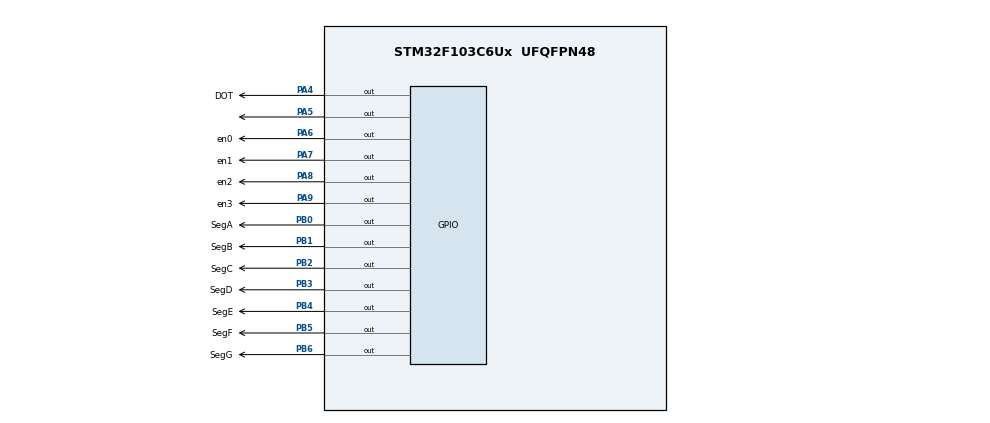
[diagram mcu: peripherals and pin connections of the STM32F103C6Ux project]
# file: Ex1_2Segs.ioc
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Mcu.Family=STM32F1
Mcu.Name=STM32F103C6Ux
Mcu.Package=UFQFPN48
NVIC.PriorityGroup=NVIC_PRIORITYGROUP_4
NVIC.TIM2_IRQn=true\:0\:0\:false\:false\:true\:true\:true
PA4.GPIO_Label=DOT
PA4.Signal=GPIO_Output
PA5.Signal=GPIO_Output
PA6.GPIO_Label=en0
PA6.Signal=GPIO_Output
PA7.GPIO_Label=en1
PA7.Signal=GPIO_Output
PA8.GPIO_Label=en2
PA8.Signal=GPIO_Output
PA9.GPIO_Label=en3
PA9.Signal=GPIO_Output
PB0.GPIO_Label=SegA
PB0.Signal=GPIO_Output
PB1.GPIO_Label=SegB
PB1.Signal=GPIO_Output
PB2.GPIO_Label=SegC
PB2.Signal=GPIO_Output
PB3.GPIO_Label=SegD
PB3.Signal=GPIO_Output
PB4.GPIO_Label=SegE
PB4.Signal=GPIO_Output
PB5.GPIO_Label=SegF
PB5.Signal=GPIO_Output
PB6.GPIO_Label=SegG
PB6.Signal=GPIO_Output
ProjectManager.HeapSize=0x200
ProjectManager.StackSize=0x400
ProjectManager.TargetToolchain=STM32CubeIDE
RCC.APB1Freq_Value=8000000
RCC.APB2Freq_Value=8000000
TIM2.Period=9
TIM2.Prescaler=7999
VP_SYS_VS_ND.Mode=No_Debug
VP_TIM2_VS_ClockSourceINT.Mode=Internal
board=custom

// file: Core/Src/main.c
/* USER CODE BEGIN Header */
/**
 ******************************************************************************
 * @file           : main.c
 * @brief          : Main program body
 ******************************************************************************
 * @attention
 *
 * <h2><center>&copy; Copyright (c) 2023 STMicroelectronics.
 * All rights reserved.</center></h2>
 *
 * This software component is licensed by ST under BSD 3-Clause license,
 * the "License"; You may not use this file except in compliance with the
 * License. You may obtain a copy of the License at:
 *                        opensource.org/licenses/BSD-3-Clause
 *
 ******************************************************************************
 */
/* USER CODE END Header */
#include "main.h"

/* USER CODE BEGIN Includes */
#include "software_timer.h"
/* USER CODE END Includes */

/* USER CODE BEGIN PTD */
#define time 25
/* USER CODE END PTD */

TIM_HandleTypeDef htim2;

void SystemClock_Config(void);
static void MX_GPIO_Init(void);
static void MX_TIM2_Init(void);

/* USER CODE BEGIN 0 */
void display7SEG(int num) {
	if (num == 1) {
		HAL_GPIO_WritePin(SegA_GPIO_Port, SegA_Pin, GPIO_PIN_SET);
		HAL_GPIO_WritePin(SegB_GPIO_Port, SegB_Pin, GPIO_PIN_RESET);
		HAL_GPIO_WritePin(SegC_GPIO_Port, SegC_Pin, GPIO_PIN_RESET);
		HAL_GPIO_WritePin(SegD_GPIO_Port, SegD_Pin, GPIO_PIN_SET);
		HAL_GPIO_WritePin(SegE_GPIO_Port, SegE_Pin, GPIO_PIN_SET);
		HAL_GPIO_WritePin(SegF_GPIO_Port, SegF_Pin, GPIO_PIN_SET);
		HAL_GPIO_WritePin(SegG_GPIO_Port, SegG_Pin, GPIO_PIN_SET);
	} else if (num == 2) {
		HAL_GPIO_WritePin(SegA_GPIO_Port, SegA_Pin, GPIO_PIN_RESET);
		HAL_GPIO_WritePin(SegB_GPIO_Port, SegB_Pin, GPIO_PIN_RESET);
		HAL_GPIO_WritePin(SegC_GPIO_Port, SegC_Pin, GPIO_PIN_SET);
		HAL_GPIO_WritePin(SegD_GPIO_Port, SegD_Pin, GPIO_PIN_RESET);
		HAL_GPIO_WritePin(SegE_GPIO_Port, SegE_Pin, GPIO_PIN_RESET);
		HAL_GPIO_WritePin(SegF_GPIO_Port, SegF_Pin, GPIO_PIN_SET);
		HAL_GPIO_WritePin(SegG_GPIO_Port, SegG_Pin, GPIO_PIN_RESET);
	} else if (num == 3) {
		HAL_GPIO_WritePin(SegA_GPIO_Port, SegA_Pin, GPIO_PIN_RESET);
		HAL_GPIO_WritePin(SegB_GPIO_Port, SegB_Pin, GPIO_PIN_RESET);
		HAL_GPIO_WritePin(SegC_GPIO_Port, SegC_Pin, GPIO_PIN_RESET);
		HAL_GPIO_WritePin(SegD_GPIO_Port, SegD_Pin, GPIO_PIN_RESET);
		HAL_GPIO_WritePin(SegE_GPIO_Port, SegE_Pin, GPIO_PIN_SET);
		HAL_GPIO_WritePin(SegF_GPIO_Port, SegF_Pin, GPIO_PIN_SET);
		HAL_GPIO_WritePin(SegG_GPIO_Port, SegG_Pin, GPIO_PIN_RESET);
	} else if (num == 4) {
		HAL_GPIO_WritePin(SegA_GPIO_Port, SegA_Pin, GPIO_PIN_SET);
		HAL_GPIO_WritePin(SegB_GPIO_Port, SegB_Pin, GPIO_PIN_RESET);
		HAL_GPIO_WritePin(SegC_GPIO_Port, SegC_Pin, GPIO_PIN_RESET);
		HAL_GPIO_WritePin(SegD_GPIO_Port, SegD_Pin, GPIO_PIN_SET);
		HAL_GPIO_WritePin(SegE_GPIO_Port, SegE_Pin, GPIO_PIN_SET);
		HAL_GPIO_WritePin(SegF_GPIO_Port, SegF_Pin, GPIO_PIN_RESET);
		HAL_GPIO_WritePin(SegG_GPIO_Port, SegG_Pin, GPIO_PIN_RESET);
	} else if (num == 5) {
		HAL_GPIO_WritePin(SegA_GPIO_Port, SegA_Pin, GPIO_PIN_RESET);
		HAL_GPIO_WritePin(SegB_GPIO_Port, SegB_Pin, GPIO_PIN_SET);
		HAL_GPIO_WritePin(SegC_GPIO_Port, SegC_Pin, GPIO_PIN_RESET);
		HAL_GPIO_WritePin(SegD_GPIO_Port, SegD_Pin, GPIO_PIN_RESET);
		HAL_GPIO_WritePin(SegE_GPIO_Port, SegE_Pin, GPIO_PIN_SET);
		HAL_GPIO_WritePin(SegF_GPIO_Port, SegF_Pin, GPIO_PIN_RESET);
		HAL_GPIO_WritePin(SegG_GPIO_Port, SegG_Pin, GPIO_PIN_RESET);
	} else if (num == 6) {
		HAL_GPIO_WritePin(SegA_GPIO_Port, SegA_Pin, GPIO_PIN_RESET);
		HAL_GPIO_WritePin(SegB_GPIO_Port, SegB_Pin, GPIO_PIN_SET);
		HAL_GPIO_WritePin(SegC_GPIO_Port, SegC_Pin, GPIO_PIN_RESET);
		HAL_GPIO_WritePin(SegD_GPIO_Port, SegD_Pin, GPIO_PIN_RESET);
		HAL_GPIO_WritePin(SegE_GPIO_Port, SegE_Pin, GPIO_PIN_RESET);
		HAL_GPIO_WritePin(SegF_GPIO_Port, SegF_Pin, GPIO_PIN_RESET);
		HAL_GPIO_WritePin(SegG_GPIO_Port, SegG_Pin, GPIO_PIN_RESET);
	} else if (num == 7) {
		HAL_GPIO_WritePin(SegA_GPIO_Port, SegA_Pin, GPIO_PIN_RESET);
		HAL_GPIO_WritePin(SegB_GPIO_Port, SegB_Pin, GPIO_PIN_RESET);
		HAL_GPIO_WritePin(SegC_GPIO_Port, SegC_Pin, GPIO_PIN_RESET);
		HAL_GPIO_WritePin(SegD_GPIO_Port, SegD_Pin, GPIO_PIN_SET);
		HAL_GPIO_WritePin(SegE_GPIO_Port, SegE_Pin, GPIO_PIN_SET);
		HAL_GPIO_WritePin(SegF_GPIO_Port, SegF_Pin, GPIO_PIN_SET);
		HAL_GPIO_WritePin(SegG_GPIO_Port, SegG_Pin, GPIO_PIN_SET);
	} else if (num == 8) {
		HAL_GPIO_WritePin(SegA_GPIO_Port, SegA_Pin, GPIO_PIN_RESET);
		HAL_GPIO_WritePin(SegB_GPIO_Port, SegB_Pin, GPIO_PIN_RESET);
		HAL_GPIO_WritePin(SegC_GPIO_Port, SegC_Pin, GPIO_PIN_RESET);
		HAL_GPIO_WritePin(SegD_GPIO_Port, SegD_Pin, GPIO_PIN_RESET);
		HAL_GPIO_WritePin(SegE_GPIO_Port, SegE_Pin, GPIO_PIN_RESET);
		HAL_GPIO_WritePin(SegF_GPIO_Port, SegF_Pin, GPIO_PIN_RESET);
		HAL_GPIO_WritePin(SegG_GPIO_Port, SegG_Pin, GPIO_PIN_RESET);
	} else if (num == 9) {
		HAL_GPIO_WritePin(SegA_GPIO_Port, SegA_Pin, GPIO_PIN_RESET);
		HAL_GPIO_WritePin(SegB_GPIO_Port, SegB_Pin, GPIO_PIN_RESET);
		HAL_GPIO_WritePin(SegC_GPIO_Port, SegC_Pin, GPIO_PIN_RESET);
		HAL_GPIO_WritePin(SegD_GPIO_Port, SegD_Pin, GPIO_PIN_RESET);
		HAL_GPIO_WritePin(SegE_GPIO_Port, SegE_Pin, GPIO_PIN_SET);
		HAL_GPIO_WritePin(SegF_GPIO_Port, SegF_Pin, GPIO_PIN_RESET);
		HAL_GPIO_WritePin(SegG_GPIO_Port, SegG_Pin, GPIO_PIN_RESET);
	} else if (num == 0) {
		HAL_GPIO_WritePin(SegA_GPIO_Port, SegA_Pin, GPIO_PIN_RESET);
		HAL_GPIO_WritePin(SegB_GPIO_Port, SegB_Pin, GPIO_PIN_RESET);
		HAL_GPIO_WritePin(SegC_GPIO_Port, SegC_Pin, GPIO_PIN_RESET);
		HAL_GPIO_WritePin(SegD_GPIO_Port, SegD_Pin, GPIO_PIN_RESET);
		HAL_GPIO_WritePin(SegE_GPIO_Port, SegE_Pin, GPIO_PIN_RESET);
		HAL_GPIO_WritePin(SegF_GPIO_Port, SegF_Pin, GPIO_PIN_RESET);
		HAL_GPIO_WritePin(SegG_GPIO_Port, SegG_Pin, GPIO_PIN_SET);
	}
}

const int MAX_LED = 4;
int index_led = 0;
int led_buffer[4];
void update7SEG(int index) {
	switch (index) {
	case 0:
		HAL_GPIO_WritePin(en0_GPIO_Port, en0_Pin, GPIO_PIN_SET);
		HAL_GPIO_WritePin(en1_GPIO_Port, en1_Pin, GPIO_PIN_SET);
		HAL_GPIO_WritePin(en2_GPIO_Port, en2_Pin, GPIO_PIN_SET);
		HAL_GPIO_WritePin(en3_GPIO_Port, en3_Pin, GPIO_PIN_RESET);
		display7SEG(led_buffer[3]);
		break;
	case 1:
		HAL_GPIO_WritePin(en0_GPIO_Port, en0_Pin, GPIO_PIN_SET);
		HAL_GPIO_WritePin(en1_GPIO_Port, en1_Pin, GPIO_PIN_SET);
		HAL_GPIO_WritePin(en2_GPIO_Port, en2_Pin, GPIO_PIN_RESET);
		HAL_GPIO_WritePin(en3_GPIO_Port, en3_Pin, GPIO_PIN_SET);
		display7SEG(led_buffer[2]);
		break;
	case 2:
		HAL_GPIO_WritePin(en0_GPIO_Port, en0_Pin, GPIO_PIN_SET);
		HAL_GPIO_WritePin(en1_GPIO_Port, en1_Pin, GPIO_PIN_RESET);
		HAL_GPIO_WritePin(en2_GPIO_Port, en2_Pin, GPIO_PIN_SET);
		HAL_GPIO_WritePin(en3_GPIO_Port, en3_Pin, GPIO_PIN_SET);
		display7SEG(led_buffer[1]);
		break;
	case 3:
		HAL_GPIO_WritePin(en0_GPIO_Port, en0_Pin, GPIO_PIN_RESET);
		HAL_GPIO_WritePin(en1_GPIO_Port, en1_Pin, GPIO_PIN_SET);
		HAL_GPIO_WritePin(en2_GPIO_Port, en2_Pin, GPIO_PIN_SET);
		HAL_GPIO_WritePin(en3_GPIO_Port, en3_Pin, GPIO_PIN_SET);
		display7SEG(led_buffer[0]);
		break;
	default:
		break;
	}
}

void updateClockBuffer(int minute, int second) {
	led_buffer[0] = minute / 10;
	led_buffer[1] = minute % 10;
	led_buffer[2] = second / 10;
	led_buffer[3] = second % 10;
}
/* USER CODE END 0 */

int main(void) {

	/* MCU Configuration--------------------------------------------------------*/

	/* Reset of all peripherals, Initializes the Flash interface and the Systick. */
	HAL_Init();

	/* Configure the system clock */
	SystemClock_Config();

	/* Initialize all configured peripherals */
	MX_GPIO_Init();
	MX_TIM2_Init();
	/* USER CODE BEGIN 2 */
	HAL_TIM_Base_Start_IT(&htim2);
	/* USER CODE END 2 */

	/* Infinite loop */
	/* USER CODE BEGIN WHILE */
	//int number = 1;
	int en = 3;
	int cntdot = 2;
	int hour = 15, minute = 8, second = 50;
	updateClockBuffer(minute, second);
	int cntsec = 4;
	setTimer1(time);
	while (1) {
		if (timer1_flag) {
			setTimer1(time);
			if (cntsec <= 0) {
				second++;
				if (second >= 60) {
					second = 0;
					minute++;
				}
				if (minute >= 60) {
					minute = 0;
					hour++;
				}
				if (hour >= 24) {
					hour = 0;
				}
				updateClockBuffer(minute, second);
				cntsec = 4;
			}

			HAL_GPIO_TogglePin(GPIOA, GPIO_PIN_5);
			if (cntdot <= 0) {
				HAL_GPIO_TogglePin(DOT_GPIO_Port, DOT_Pin);
				cntdot = 2;
			}
			update7SEG(en--);
			if (en < 0) {
				en = 3;
			}
			cntdot--;
			cntsec--;
		}
		/* USER CODE END WHILE */

	}
}

void SystemClock_Config(void) {
	RCC_OscInitTypeDef RCC_OscInitStruct = { 0 };
	RCC_ClkInitTypeDef RCC_ClkInitStruct = { 0 };

	/** Initializes the RCC Oscillators according to the specified parameters
	 * in the RCC_OscInitTypeDef structure.
	 */
	RCC_OscInitStruct.OscillatorType = RCC_OSCILLATORTYPE_HSI;
	RCC_OscInitStruct.HSIState = RCC_HSI_ON;
	RCC_OscInitStruct.HSICalibrationValue = RCC_HSICALIBRATION_DEFAULT;
	RCC_OscInitStruct.PLL.PLLState = RCC_PLL_NONE;
	if (HAL_RCC_OscConfig(&RCC_OscInitStruct) != HAL_OK) {
		Error_Handler();
	}
	/** Initializes the CPU, AHB and APB buses clocks
	 */
	RCC_ClkInitStruct.ClockType = RCC_CLOCKTYPE_HCLK | RCC_CLOCKTYPE_SYSCLK
			| RCC_CLOCKTYPE_PCLK1 | RCC_CLOCKTYPE_PCLK2;
	RCC_ClkInitStruct.SYSCLKSource = RCC_SYSCLKSOURCE_HSI;
	RCC_ClkInitStruct.AHBCLKDivider = RCC_SYSCLK_DIV1;
	RCC_ClkInitStruct.APB1CLKDivider = RCC_HCLK_DIV1;
	RCC_ClkInitStruct.APB2CLKDivider = RCC_HCLK_DIV1;

	if (HAL_RCC_ClockConfig(&RCC_ClkInitStruct, FLASH_LATENCY_0) != HAL_OK) {
		Error_Handler();
	}
}

static void MX_TIM2_Init(void) {

	TIM_ClockConfigTypeDef sClockSourceConfig = { 0 };
	TIM_MasterConfigTypeDef sMasterConfig = { 0 };

	htim2.Instance = TIM2;
	htim2.Init.Prescaler = 7999;
	htim2.Init.CounterMode = TIM_COUNTERMODE_UP;
	htim2.Init.Period = 9;
	htim2.Init.ClockDivision = TIM_CLOCKDIVISION_DIV1;
	htim2.Init.AutoReloadPreload = TIM_AUTORELOAD_PRELOAD_DISABLE;
	if (HAL_TIM_Base_Init(&htim2) != HAL_OK) {
		Error_Handler();
	}
	sClockSourceConfig.ClockSource = TIM_CLOCKSOURCE_INTERNAL;
	if (HAL_TIM_ConfigClockSource(&htim2, &sClockSourceConfig) != HAL_OK) {
		Error_Handler();
	}
	sMasterConfig.MasterOutputTrigger = TIM_TRGO_RESET;
	sMasterConfig.MasterSlaveMode = TIM_MASTERSLAVEMODE_DISABLE;
	if (HAL_TIMEx_MasterConfigSynchronization(&htim2, &sMasterConfig)
			!= HAL_OK) {
		Error_Handler();
	}

}

static void MX_GPIO_Init(void) {
	GPIO_InitTypeDef GPIO_InitStruct = { 0 };

	/* GPIO Ports Clock Enable */
	__HAL_RCC_GPIOA_CLK_ENABLE();
	__HAL_RCC_GPIOB_CLK_ENABLE();

	/*Configure GPIO pin Output Level */
	HAL_GPIO_WritePin(GPIOA,
			DOT_Pin | GPIO_PIN_5 | en0_Pin | en1_Pin | en2_Pin | en3_Pin,
			GPIO_PIN_RESET);

	/*Configure GPIO pin Output Level */
	HAL_GPIO_WritePin(GPIOB,
			SegA_Pin | SegB_Pin | SegC_Pin | SegD_Pin | SegE_Pin | SegF_Pin
					| SegG_Pin, GPIO_PIN_RESET);

	/*Configure GPIO pins : DOT_Pin PA5 en0_Pin en1_Pin
	 en2_Pin en3_Pin */
	GPIO_InitStruct.Pin = DOT_Pin | GPIO_PIN_5 | en0_Pin | en1_Pin | en2_Pin
			| en3_Pin;
	GPIO_InitStruct.Mode = GPIO_MODE_OUTPUT_PP;
	GPIO_InitStruct.Pull = GPIO_NOPULL;
	GPIO_InitStruct.Speed = GPIO_SPEED_FREQ_LOW;
	HAL_GPIO_Init(GPIOA, &GPIO_InitStruct);

	/*Configure GPIO pins : SegA_Pin SegB_Pin SegC_Pin SegD_Pin
	 SegE_Pin SegF_Pin SegG_Pin */
	GPIO_InitStruct.Pin = SegA_Pin | SegB_Pin | SegC_Pin | SegD_Pin | SegE_Pin
			| SegF_Pin | SegG_Pin;
	GPIO_InitStruct.Mode = GPIO_MODE_OUTPUT_PP;
	GPIO_InitStruct.Pull = GPIO_NOPULL;
	GPIO_InitStruct.Speed = GPIO_SPEED_FREQ_LOW;
	HAL_GPIO_Init(GPIOB, &GPIO_InitStruct);

}

/* USER CODE BEGIN 4 */
void HAL_TIM_PeriodElapsedCallback(TIM_HandleTypeDef *htim) {
	timerRun();
}
/* USER CODE END 4 */

void Error_Handler(void) {
	__disable_irq();
	while (1) {
	}
}

/************************ (C) COPYRIGHT STMicroelectronics *****END OF FILE****/
